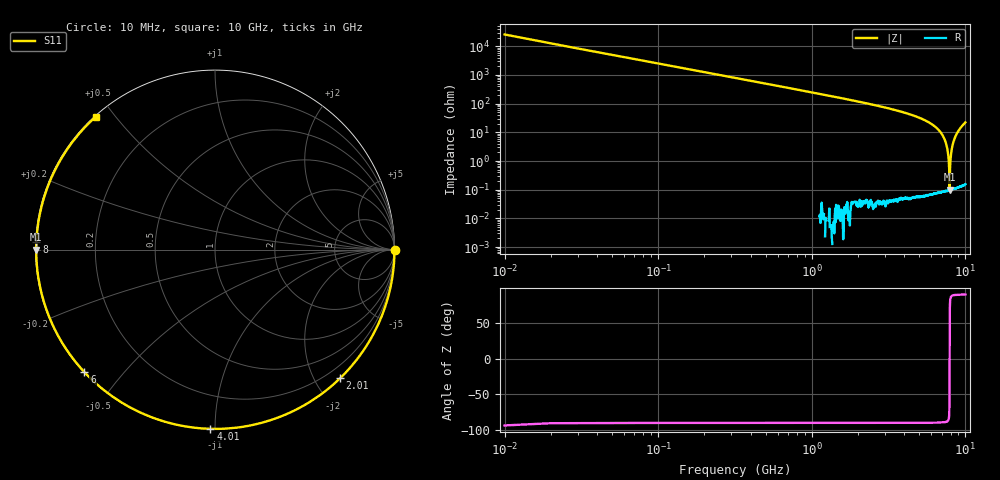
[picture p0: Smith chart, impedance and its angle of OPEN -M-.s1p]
!Keysight Technologies,N5242A,MY53222596,A.10.47.06
!Date: Thursday, November 09, 2017 11:57:32
!Correction: S11(Full 2 Port(1,3))
!S1P File: Measurement: S11:
# Hz S  MA  R 50
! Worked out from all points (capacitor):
!   1000 points, 10 MHz to 10 GHz, reference 50 ohm
!   read as one part to ground: C = 633 fF near 60 MHz
!   lowest |Z| = 99.6 mohm at 7.89 GHz (marker M1)
!   series resonance near 7.892 GHz, so ESL is about 640 pH
!   S11 on the Smith chart (normalised r, x): 10 MHz: open; 2.01 GHz: 0.00, -2.36; 4.01 GHz: 0.00, -0.98; 6 GHz: 0.00, -0.40; 8 GHz: 0.00, +0.02; 10 GHz: 0.00, +0.45
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1e7  1 -0.2
3.2e8  1 -7.3
6.3e8  1 -14.4
9.5e8  1 -21.7
1.26e9  1 -28.7
1.63e9  0.9999 -37.2
2.01e9  0.9998 -45.8
2.51e9  0.9998 -57.2
2.84e9  0.9996 -64.8
3.15e9  0.9995 -71.8
3.46e9  0.9993 -78.9
3.76e9  0.9991 -85.7
4.01e9  0.999 -91.4
4.5e9  0.9987 -102.6
5.01e9  0.9984 -114.2
5.49e9  0.998 -125.2
6e9  0.9977 -136.8
6.26e9  0.9973 -142.8
6.9e9  0.9969 -157.4
7.21e9  0.9966 -164.4
7.51e9  0.9964 -171.3
7.89e9  0.9961 -179.9
8e9  0.9961 -182.5
8.38e9  0.9958 -191.1
8.76e9  0.9956 -199.8
9.34e9  0.9952 -213.0
9.74e9  0.995 -222.2
1e10  0.9948 -228.1
